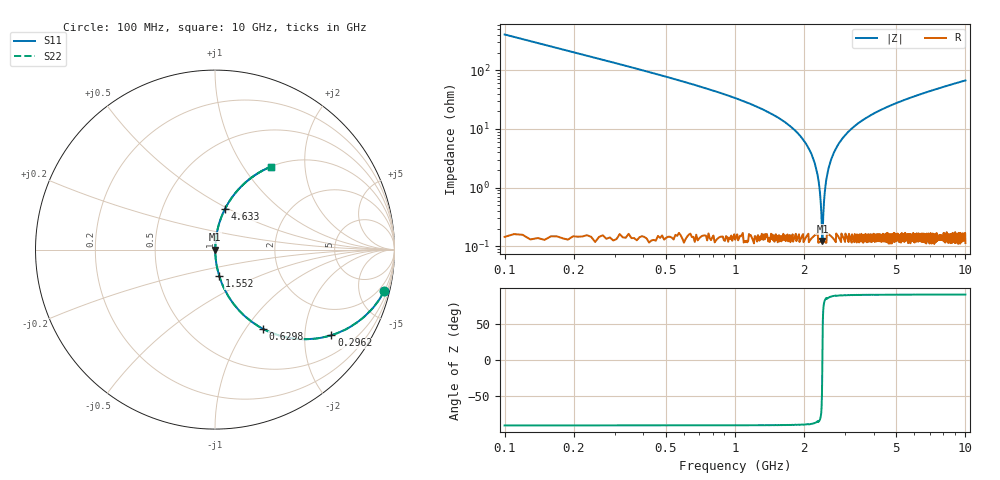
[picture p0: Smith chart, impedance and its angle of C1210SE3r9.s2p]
! AVX Thin Film Operation		Date: April 2012
! Description: Accu-P® Series, Thin Film, SMD, RF Capacitor
! Part Number: 12101J3R9ABTTR
!	100	MHz	-	10.05	GHz
!	Serial	Measurements
#	MHZ	S	MA	R	50
!	S11	S21	S12	S22
!	dB	Phase	dB	Phase	dB	Phase	dB	Phase
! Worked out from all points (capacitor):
!   1010 points, 100 MHz to 10 GHz, reference 50 ohm
!   read as one part in series: C = 3.9 pF near 149.1 MHz
!   lowest |Z| = 123 mohm at 2.396 GHz (marker M1)
!   series resonance near 2.394 GHz, so ESL is about 1.1 nH
!   S11 on the Smith chart (normalised r, x): 100 MHz: 1.01, -8.15; 296.2 MHz: 1.00, -2.71; 629.8 MHz: 1.00, -1.21; 1.552 GHz: 1.00, -0.30; 4.633 GHz: 1.00, +0.48; 10 GHz: 1.00, +1.34
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100  0.971 -13.8  0.238 76.2  0.238 76.2  0.971 -13.8
296.234  0.805 -36.4  0.593 53.6  0.593 53.6  0.805 -36.4
629.832  0.516 -58.8  0.855 31.1  0.855 31.1  0.516 -58.8
992.864  0.322 -71.0  0.945 18.8  0.945 18.8  0.322 -71.0
1552.131  0.15 -80.8  0.987 8.7  0.987 8.7  0.15 -80.8
1758.176  0.106 -83.2  0.993 6.1  0.993 6.1  0.106 -83.2
2013.28  0.059 -85.3  0.997 3.4  0.997 3.4  0.059 -85.3
2189.891  0.03 -85.6  0.998 1.7  0.998 1.7  0.03 -85.6
2288.008  0.015 -83.9  0.998 0.9  0.998 0.9  0.015 -83.9
2356.69  0.00554 -75.1  0.999 0.3  0.999 0.3  0.00554 -75.1
2395.937  0.00142 10.8  0.999 -0.0  0.999 -0.0  0.00142 10.8
2425.372  0.00464 72.2  0.999 -0.3  0.999 -0.3  0.00464 72.2
2474.43  0.011 82.3  0.999 -0.6  0.999 -0.6  0.011 82.3
2523.489  0.018 84.5  0.998 -1.0  0.998 -1.0  0.018 84.5
2670.664  0.037 85.7  0.998 -2.1  0.998 -2.1  0.037 85.7
2974.827  0.074 84.7  0.996 -4.3  0.996 -4.3  0.074 84.7
3406.541  0.122 82.4  0.991 -7.0  0.991 -7.0  0.122 82.4
4633.003  0.235 76.1  0.971 -13.6  0.971 -13.6  0.235 76.1
5054.906  0.269 74.1  0.962 -15.6  0.962 -15.6  0.269 74.1
6703.271  0.384 67.2  0.922 -22.6  0.922 -22.6  0.384 67.2
8351.635  0.479 61.3  0.877 -28.6  0.877 -28.6  0.479 61.3
10000  0.557 56.0  0.83 -33.8  0.83 -33.8  0.557 56.0
